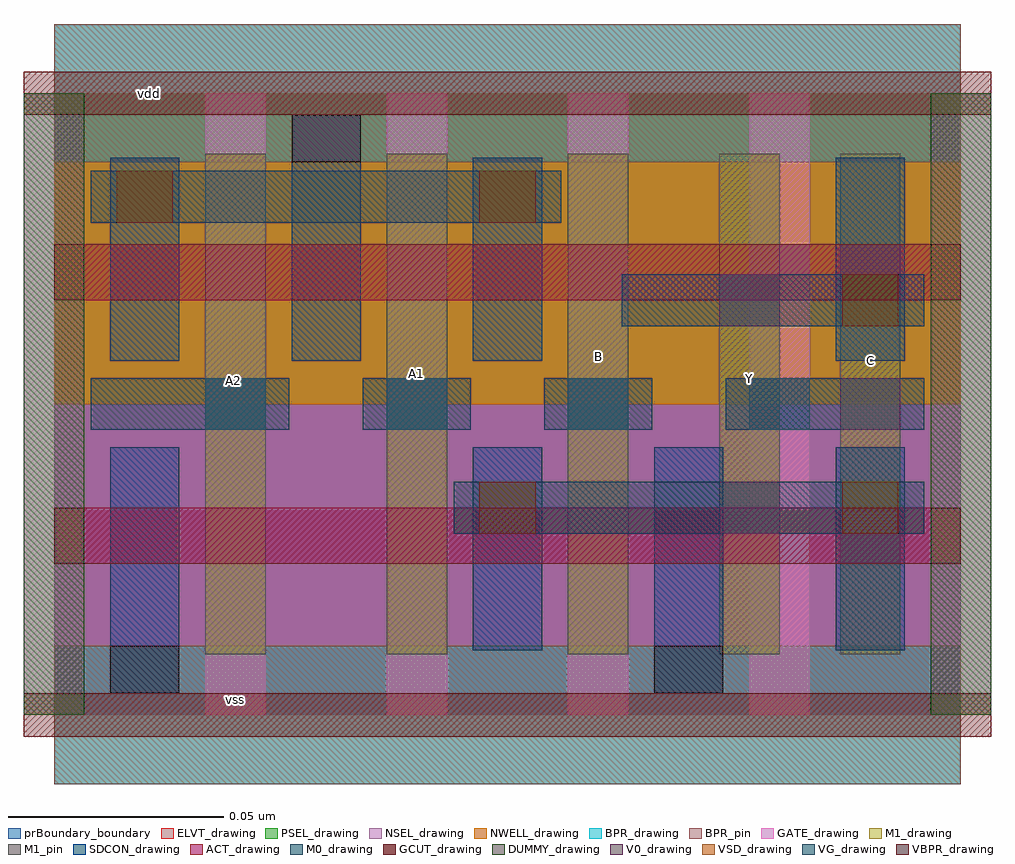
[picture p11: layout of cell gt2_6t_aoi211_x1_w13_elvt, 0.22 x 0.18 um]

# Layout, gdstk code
import gdstk
lib = gdstk.Library(unit=1e-6, precision=5e-10)
def R(c, l, rs):  # rectangles x0, y0, x1, y1
    for r in rs: c.add(gdstk.rectangle(r[:2], r[2:], *l))
def A(c, l, x, y, w, h, nx, ny, dx, dy):  # array of equal rectangles
    R(c, l, [(x+i*dx, y+j*dy, x+i*dx+w, y+j*dy+h) for i in range(nx) for j in range(ny)])
NWELL_drawing = (1, 0)
ACT_drawing = (2, 0)
GATE_drawing = (3, 0)
DUMMY_drawing = (4, 0)
GCUT_drawing = (5, 0)
NSEL_drawing = (6, 0)
PSEL_drawing = (7, 0)
BPR_drawing = (8, 0)
BPR_pin = (8, 251)
VBPR_drawing = (9, 0)
SDCON_drawing = (10, 0)
VSD_drawing = (11, 0)
VG_drawing = (12, 0)
M0_drawing = (20, 0)
V0_drawing = (22, 0)
M1_drawing = (25, 0)
M1_pin = (25, 251)
ELVT_drawing = (94, 0)
prBoundary_boundary = (235, 250)

gt2_6t_aoi211_x1_w13_elv = lib.new_cell('gt2_6t_aoi211_x1_w13_elvt')
R(gt2_6t_aoi211_x1_w13_elv, NWELL_drawing, [(0,0.072,0.21,0.144)])
R(gt2_6t_aoi211_x1_w13_elv, ACT_drawing, [(0,0.035,0.21,0.048), (0,0.096,0.21,0.109)])
A(gt2_6t_aoi211_x1_w13_elv, GATE_drawing, -0.007, 0, 0.014, 0.144, 6, 1, 0.042, 0)
R(gt2_6t_aoi211_x1_w13_elv, DUMMY_drawing, [(-0.007,0,0.007,0.144), (0.203,0,0.217,0.144)])
R(gt2_6t_aoi211_x1_w13_elv, GCUT_drawing, [(-0.007,-0.005,0.217,0.005), (-0.007,0.139,0.217,0.149)])
R(gt2_6t_aoi211_x1_w13_elv, NSEL_drawing, [(0,0,0.21,0.072)])
R(gt2_6t_aoi211_x1_w13_elv, PSEL_drawing, [(0,0.072,0.21,0.144)])
R(gt2_6t_aoi211_x1_w13_elv, BPR_drawing, [(0,-0.016,0.21,0.016), (0,0.128,0.21,0.16)])
R(gt2_6t_aoi211_x1_w13_elv, BPR_pin, [(0,-0.016,0.21,0.016), (0,0.128,0.21,0.16)])
R(gt2_6t_aoi211_x1_w13_elv, VBPR_drawing, [(0.013,0.005,0.029,0.016), (0.139,0.005,0.155,0.016), (0.055,0.128,0.071,0.139)])
A(gt2_6t_aoi211_x1_w13_elv, SDCON_drawing, 0.013, 0.082, 0.016, 0.047, 3, 1, 0.084, 0)
R(gt2_6t_aoi211_x1_w13_elv, SDCON_drawing, [(0.013,0.005,0.029,0.062), (0.139,0.005,0.155,0.062), (0.097,0.015,0.113,0.062), (0.181,0.015,0.197,0.062), (0.055,0.082,0.071,0.139)])
R(gt2_6t_aoi211_x1_w13_elv, VSD_drawing, [(0.0985,0.042,0.1115,0.054), (0.1825,0.042,0.1955,0.054), (0.1825,0.09,0.1955,0.102), (0.0145,0.114,0.0275,0.126), (0.0985,0.114,0.1115,0.126)])
A(gt2_6t_aoi211_x1_w13_elv, VG_drawing, 0.035, 0.066, 0.014, 0.012, 4, 1, 0.042, 0)
R(gt2_6t_aoi211_x1_w13_elv, M0_drawing, [(0.0925,0.042,0.2015,0.054), (0.0085,0.066,0.0545,0.078), (0.0715,0.066,0.0965,0.078), (0.1135,0.066,0.1385,0.078), (0.1555,0.066,0.2015,0.078), (0.1315,0.09,0.2015,0.102), (0.0085,0.114,0.1175,0.126)])
A(gt2_6t_aoi211_x1_w13_elv, V0_drawing, 0.035, 0.066, 0.014, 0.012, 3, 1, 0.042, 0)
R(gt2_6t_aoi211_x1_w13_elv, V0_drawing, [(0.154,0.042,0.168,0.054), (0.182,0.066,0.196,0.078), (0.154,0.09,0.168,0.102)])
A(gt2_6t_aoi211_x1_w13_elv, M1_drawing, 0.035, 0.014, 0.014, 0.116, 3, 1, 0.042, 0)
R(gt2_6t_aoi211_x1_w13_elv, M1_drawing, [(0.154,0.014,0.168,0.13), (0.182,0.014,0.196,0.13)])
A(gt2_6t_aoi211_x1_w13_elv, M1_pin, 0.035, 0.014, 0.014, 0.116, 3, 1, 0.042, 0)
R(gt2_6t_aoi211_x1_w13_elv, M1_pin, [(0.154,0.014,0.168,0.13), (0.182,0.014,0.196,0.13)])
R(gt2_6t_aoi211_x1_w13_elv, ELVT_drawing, [(0,0,0.21,0.144)])
R(gt2_6t_aoi211_x1_w13_elv, prBoundary_boundary, [(0,0,0.21,0.144)])
gt2_6t_aoi211_x1_w13_elv.add(gdstk.Label('vdd', (0.022,0.144), layer=8, texttype=251))
gt2_6t_aoi211_x1_w13_elv.add(gdstk.Label('vss', (0.042,0.0035), layer=8, texttype=251))
gt2_6t_aoi211_x1_w13_elv.add(gdstk.Label('Y', (0.161,0.078), layer=25, texttype=251))
gt2_6t_aoi211_x1_w13_elv.add(gdstk.Label('B', (0.126,0.083), layer=25, texttype=251))
gt2_6t_aoi211_x1_w13_elv.add(gdstk.Label('A2', (0.0415,0.0775), layer=25, texttype=251))
gt2_6t_aoi211_x1_w13_elv.add(gdstk.Label('A1', (0.084,0.079), layer=25, texttype=251))
gt2_6t_aoi211_x1_w13_elv.add(gdstk.Label('C', (0.189,0.082), layer=25, texttype=251))

lib.write_gds('gt2_6t_aoi211_x1_w13_elvt.gds')
